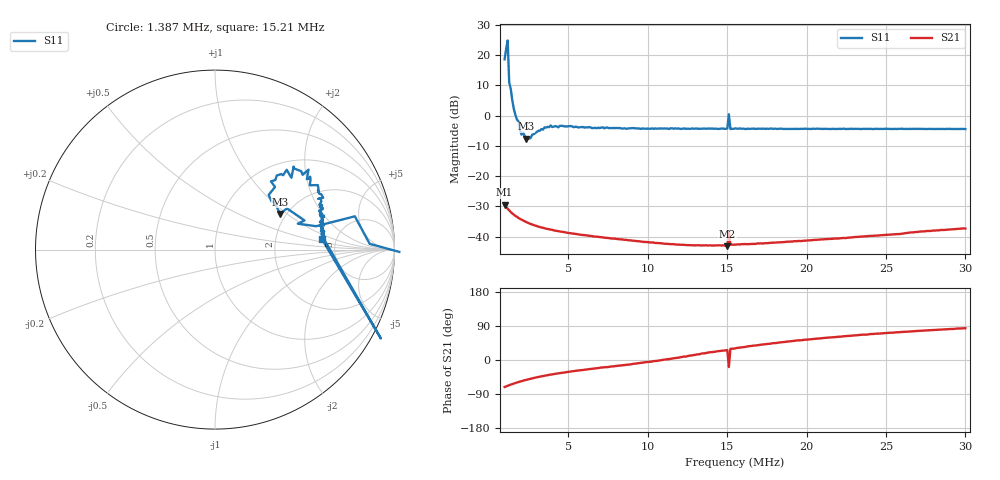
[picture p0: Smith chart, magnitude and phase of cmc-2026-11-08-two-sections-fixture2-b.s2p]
!File created by NanoVNA-F V2
# Hz S RI R 50
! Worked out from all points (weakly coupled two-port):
!   301 points, 1 MHz to 30 MHz, reference 50 ohm
!   highest |S21| = -29.49 dB at 1 MHz (marker M1); lowest = -43.2 dB at 15.02 MHz (marker M2)
!   lowest |S11| = -7.7 dB at 2.353 MHz (marker M3), VSWR 2.41, Z = 92.9 + j44.6 ohm
!   |S11| at or under -10 dB: nowhere
!   S12 and S22 are empty: the file has one direction only
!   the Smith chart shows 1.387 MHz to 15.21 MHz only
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1000000  -6.293 5.658  0.0107 -0.0317  0 0  0 0
1096666  -12.22 3.031  0.0107 -0.029  0 0  0 0
1193332  13.93 10.33  0.0108 -0.0267  0 0  0 0
1289998  3.493 0.205  0.0108 -0.0248  0 0  0 0
1386664  2.728 0.3435  0.0108 -0.0231  0 0  0 0
1483330  1.777 -0.0333  0.0108 -0.0216  0 0  0 0
1579996  1.281 -0.0752  0.0108 -0.0203  0 0  0 0
1676662  1.027 -0.0128  0.0108 -0.0192  0 0  0 0
1869994  0.7791 0.1854  0.0107 -0.0173  0 0  0 0
1966660  0.5631 0.1303  0.0107 -0.0165  0 0  0 0
2353324  0.3623 0.199  0.0106 -0.0138  0 0  0 0
2836654  0.3115 0.3798  0.0105 -0.0114  0 0  0 0
3513316  0.4382 0.4627  0.0103 -0.00911  0 0  0 0
5833300  0.595 0.2393  0.00955 -0.00484  0 0  0 0
1.06666e7  0.5987 0.1153  0.00782 -0.000239  0 0  0 0
1.501657e7  0.6064 0.0602  0.00625 0.00306  0 0  0 0
1.511324e7  0.9242 -0.4953  0.0115 -0.00385  0 0  0 0
1.52099e7  0.5947 0.0604  0.00639 0.00359  0 0  0 0
1.54999e7  0.6093 0.0587  0.00635 0.00373  0 0  0 0
2.03332e7  0.5983 0.0263  0.005 0.00713  0 0  0 0
2.51665e7  0.5983 -0.00349  0.00337 0.0102  0 0  0 0
2.99998e7  0.596 -0.0273  0.0014 0.0135  0 0  0 0
